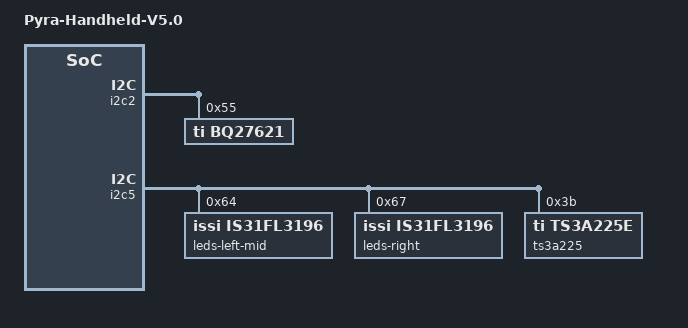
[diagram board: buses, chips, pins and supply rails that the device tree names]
// SPDX-License-Identifier: GPL-2.0-or-later
/*
 * Copyright (C) 2015 OpenPandora - http://www.pyra-handheld.com/
 *
 * This program is free software; you can redistribute it and/or modify
 * it under the terms of the GNU General Public License version 2 as
 * published by the Free Software Foundation.
 */

#include "pyra-mainboard-common.dtsi"

/ {
	model = "Pyra-Handheld-V5.0";
};

&i2c2 {
	/* fuel gauge */
	/delete-node/ bq27421@55;

	bq27621@55 {
		compatible = "ti,bq27621";
		reg = <0x55>;
		monitored-battery = <&bat>;
	};
};

&i2c5 {
	/delete-node/ leds-left-mid-right@64;

	leds-left-mid@64 {
		compatible = "issi,is31fl3196";
		#address-cells = <1>;
		#size-cells = <0>;
		reg = <0x64>;

		left_led1: red_left@1 {
			label = "pyra:red:left";
			reg = <1>;
			linux,default-trigger = "heartbeat";
		};

		left_led2: green_left@2 {
			label = "pyra:green:left";
			reg = <2>;
			linux,default-trigger = "heartbeat";
		};

		left_led3: blue_left@3 {
			label = "pyra:blue:left";
			reg = <3>;
			linux,default-trigger = "timer";
		};

		mid_led4: red_mid@4 {
			label = "pyra:red:mid";
			reg = <4>;
			linux,default-trigger = "default-on";
		};

		mid_led5: green_mid@5 {
			label = "pyra:green:mid";
			reg = <5>;
			linux,default-trigger = "timer";
		};

		mid_led6: blue_mid@6 {
			label = "pyra:blue:mid";
			reg = <6>;
			linux,default-trigger = "heartbeat";
		};
	};

	leds-right@67 {
		compatible = "issi,is31fl3196";
		#address-cells = <1>;
		#size-cells = <0>;
		reg = <0x67>;

		right_led7: red_right@1 {
			label = "pyra:red:right";
			reg = <1>;
			linux,default-trigger = "heartbeat";
		};

		right_led8: green_right@2 {
			label = "pyra:green:right";
			reg = <2>;
			linux,default-trigger = "heartbeat";
		};

		right_led9: blue_right@3 {
			label = "pyra:blue:right";
			reg = <3>;
			linux,default-trigger = "timer";
		};
	};

	/* microphone detect */
	/delete-node/ ts3a227@3b;

	ts3a225@3b {
		compatible = "ti,ts3a225e";
		reg = <0x3b>;
		/* interrupts are broken */
		ti,micbias = <0>;	/* 2.1V */
	};
};

&twl6040 {
	/* motor connected to L */
	vibra {
		ti,viblmotor-res = <32>;
		ti,vibrmotor-res = <999999>;	/* no motor */
	};
};

&wlcore {
	compatible = "ti,wl1835";
};
